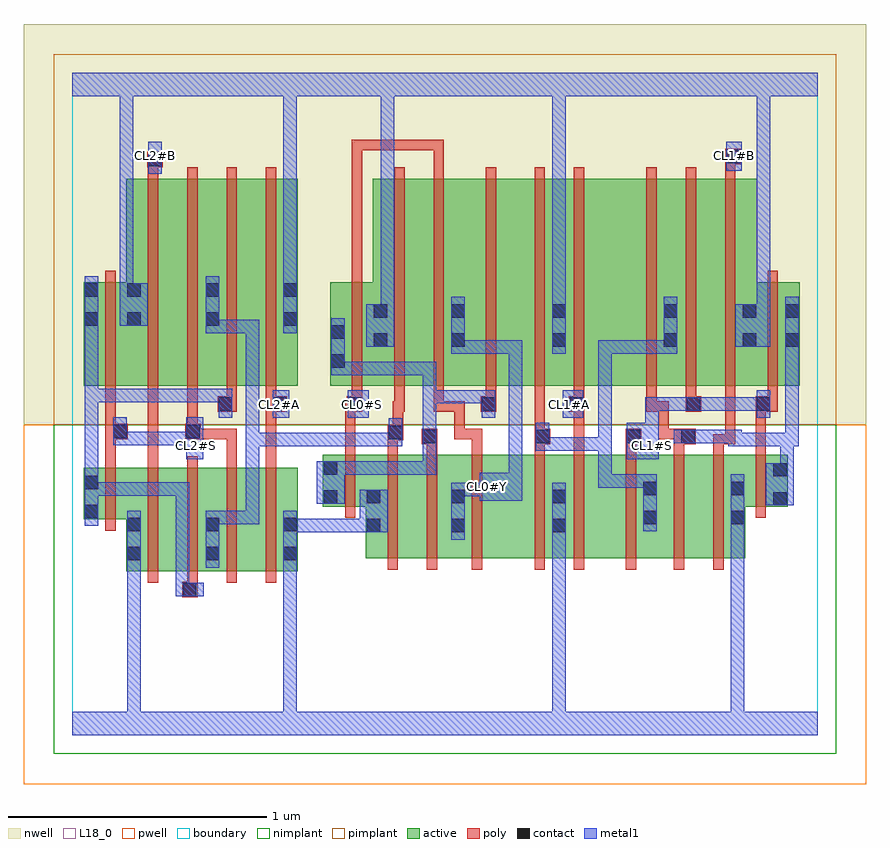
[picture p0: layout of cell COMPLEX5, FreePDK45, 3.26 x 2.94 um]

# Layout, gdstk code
import gdstk
lib = gdstk.Library(unit=1e-6, precision=1e-09)
def R(c, l, rs):  # rectangles x0, y0, x1, y1
    for r in rs: c.add(gdstk.rectangle(r[:2], r[2:], *l))
def A(c, l, x, y, w, h, nx, ny, dx, dy):  # array of equal rectangles
    R(c, l, [(x+i*dx, y+j*dy, x+i*dx+w, y+j*dy+h) for i in range(nx) for j in range(ny)])
active = (1, 0)
pwell = (2, 0)
nwell = (3, 0)
nimplant = (4, 0)
pimplant = (5, 0)
poly = (9, 0)
contact = (10, 0)
metal1 = (11, 0)
L18_0 = (18, 0)
boundary = (235, 0)

complex5 = lib.new_cell('COMPLEX5')
R(complex5, active, [(0.208,0.634,0.388,1.034), (0.208,0.634,0.268,1.034), (0.388,0.634,0.572,1.034), (0.512,0.634,0.692,1.034), (0.512,0.634,0.572,0.844), (0.692,0.634,0.872,1.034), (0.812,0.634,0.872,1.034), (1.134,0.684,1.314,1.084), (1.314,0.684,1.52,1.084), (1.46,0.684,1.73,1.084), (1.73,0.684,1.91,1.084), (1.85,0.684,2.034,1.084), (2.034,0.684,2.262,1.084), (2.202,0.684,2.42,1.084), (2.42,0.684,2.6,1.084), (1.46,0.756,1.52,0.952), (1.85,0.756,1.91,0.952), (2.202,0.756,2.262,0.984), (1.134,0.78,1.194,0.952), (2.54,0.812,2.6,1.054), (0.044,0.834,0.104,1.034), (0.044,0.834,0.268,1.034), (0.968,0.884,1.194,1.084), (2.54,0.884,2.764,1.084), (2.704,0.884,2.764,1.084), (0.968,0.89,1.028,1.084), (0.044,1.35,0.104,1.75), (0.044,1.35,0.268,1.75), (0.208,1.35,0.388,2.15), (0.388,1.35,0.572,2.15), (0.512,1.35,0.692,2.15), (0.692,1.35,0.872,2.15), (0.812,1.35,0.872,2.044), (0.996,1.35,1.22,1.75), (0.996,1.35,1.056,1.644), (1.16,1.35,1.34,2.15), (1.34,1.35,1.52,2.15), (1.46,1.35,1.73,2.15), (1.46,1.35,1.52,2.044), (1.73,1.35,1.91,2.15), (1.85,1.35,2.034,2.15), (2.034,1.35,2.342,2.15), (2.282,1.35,2.466,2.15), (2.466,1.35,2.646,2.15), (2.586,1.35,2.81,1.75), (2.586,1.35,2.646,2.08), (2.75,1.35,2.81,1.75), (0.208,1.358,0.268,2.132), (1.85,1.37,1.91,2.044), (2.282,1.37,2.342,2.044), (0.512,1.416,0.572,2.044), (1.16,1.47,1.22,2.006)])
R(complex5, pwell, [(-0.188,-0.188,3.068,1.2)])
R(complex5, nwell, [(-0.188,1.2,3.068,2.748)])
R(complex5, nimplant, [(-0.072,-0.072,2.952,1.2)])
R(complex5, pimplant, [(-0.072,1.2,2.952,2.632)])
A(complex5, poly, 0.292, 0.59, 0.04, 0.488, 4, 1, 0.152, 0)
A(complex5, poly, 0.292, 1.306, 0.04, 0.888, 4, 1, 0.152, 0)
A(complex5, poly, 2.218, 1.306, 0.04, 0.888, 3, 1, 0.152, 0)
R(complex5, poly, [(0.424,0.534,0.484,0.594), (0.444,0.554,0.484,0.63), (1.218,0.64,1.258,1.128), (1.37,0.64,1.41,1.128), (1.544,0.64,1.584,1.128), (1.786,0.64,1.826,1.128), (1.938,0.64,1.978,1.128), (2.138,0.64,2.178,1.128), (2.324,0.64,2.364,1.128), (2.476,0.64,2.516,1.128), (0.128,0.79,0.168,1.078), (1.054,0.84,1.094,1.128), (2.64,0.84,2.68,1.128), (0.128,1.038,0.168,1.184), (0.292,1.038,0.332,1.19), (0.596,1.038,0.636,1.184), (0.748,1.038,0.788,1.29), (1.054,1.088,1.094,1.29), (1.218,1.088,1.258,1.18), (1.37,1.088,1.41,1.164), (1.544,1.088,1.584,1.184), (1.786,1.088,1.826,1.164), (1.938,1.088,1.978,1.29), (2.138,1.088,2.178,1.164), (2.324,1.088,2.364,1.164), (2.476,1.088,2.516,1.164), (2.64,1.088,2.68,1.29), (1.35,1.124,1.41,1.184), (1.786,1.124,1.846,1.184), (2.138,1.124,2.198,1.184), (2.324,1.124,2.408,1.184), (2.476,1.124,2.536,1.164), (2.496,1.124,2.536,1.164), (2.496,1.124,2.562,1.164), (2.522,1.124,2.562,1.346), (1.218,1.14,1.278,1.2), (0.128,1.144,0.214,1.204), (0.436,1.144,0.496,1.204), (0.456,1.144,0.636,1.184), (0.596,1.144,0.636,1.184), (0.596,1.144,0.636,1.184), (0.596,1.144,0.636,1.184), (1.476,1.144,1.516,1.184), (1.476,1.144,1.516,1.29), (1.476,1.144,1.584,1.184), (1.544,1.144,1.584,1.184), (1.786,1.144,1.826,1.184), (1.786,1.144,1.826,1.184), (1.786,1.144,1.826,1.346), (2.264,1.144,2.304,1.184), (2.264,1.144,2.364,1.184), (2.264,1.144,2.304,1.29), (0.292,1.15,0.332,1.19), (0.292,1.15,0.332,1.19), (0.292,1.15,0.332,1.19), (0.292,1.15,0.332,1.346), (1.238,1.16,1.278,1.29), (0.128,1.164,0.168,1.204), (0.128,1.164,0.168,1.204), (0.128,1.164,0.168,1.346), (0.444,1.164,0.484,1.204), (0.444,1.164,0.484,1.204), (0.444,1.164,0.484,1.346), (0.562,1.25,0.636,1.31), (0.748,1.25,0.788,1.29), (0.748,1.25,0.788,1.29), (0.748,1.25,0.83,1.31), (1.054,1.25,1.1,1.29), (1.06,1.25,1.1,1.29), (1.06,1.25,1.12,1.31), (1.238,1.25,1.284,1.29), (1.244,1.25,1.284,1.346), (1.396,1.25,1.436,1.29), (1.396,1.25,1.436,1.346), (1.396,1.25,1.516,1.29), (1.476,1.25,1.516,1.29), (1.578,1.25,1.638,1.31), (1.918,1.25,1.978,1.31), (1.938,1.25,1.978,1.29), (1.938,1.25,1.978,1.29), (2.218,1.25,2.258,1.29), (2.218,1.25,2.304,1.29), (2.218,1.25,2.258,1.346), (2.264,1.25,2.304,1.29), (2.37,1.25,2.43,1.31), (2.64,1.25,2.68,1.29), (2.64,1.25,2.68,1.29), (2.64,1.25,2.726,1.31), (0.596,1.27,0.636,1.346), (0.748,1.27,0.788,1.346), (1.08,1.27,1.12,1.346), (1.598,1.27,1.638,1.346), (1.938,1.27,1.978,1.346), (2.37,1.27,2.41,1.346), (2.686,1.27,2.726,1.346), (0.128,1.306,0.168,1.794), (1.08,1.306,1.12,1.794), (1.244,1.306,1.284,2.194), (1.396,1.306,1.436,2.194), (1.598,1.306,1.638,2.194), (1.786,1.306,1.826,2.194), (1.938,1.306,1.978,2.194), (2.686,1.306,2.726,1.794), (1.08,1.754,1.12,2.3), (0.292,2.154,0.332,2.234), (1.396,2.154,1.436,2.3), (2.522,2.154,2.562,2.246), (0.29,2.194,0.35,2.254), (2.522,2.206,2.582,2.266), (1.08,2.26,1.12,2.3), (1.08,2.26,1.12,2.3), (1.08,2.26,1.12,2.3), (1.08,2.26,1.12,2.3), (1.08,2.26,1.12,2.3), (1.08,2.26,1.12,2.3), (1.08,2.26,1.12,2.3), (1.08,2.26,1.12,2.3), (1.08,2.26,1.12,2.3), (1.08,2.26,1.12,2.3), (1.08,2.26,1.12,2.3), (1.08,2.26,1.226,2.3), (1.186,2.26,1.226,2.3), (1.186,2.26,1.226,2.3), (1.186,2.26,1.226,2.3), (1.186,2.26,1.436,2.3), (1.396,2.26,1.436,2.3)])
R(complex5, contact, [(0.428,0.538,0.48,0.59), (0.212,0.676,0.264,0.728), (0.516,0.676,0.568,0.728), (0.816,0.676,0.868,0.728), (1.138,0.784,1.19,0.836), (1.464,0.784,1.516,0.836), (1.854,0.784,1.906,0.836), (0.212,0.788,0.264,0.84), (0.516,0.788,0.568,0.84), (0.816,0.788,0.868,0.84), (2.206,0.816,2.258,0.868), (2.544,0.816,2.596,0.868), (0.048,0.838,0.1,0.89), (2.708,0.888,2.76,0.94), (0.972,0.894,1.024,0.946), (1.138,0.896,1.19,0.948), (1.464,0.896,1.516,0.948), (1.854,0.896,1.906,0.948), (2.206,0.928,2.258,0.98), (2.544,0.928,2.596,0.98), (0.048,0.95,0.1,1.002), (2.708,1,2.76,1.052), (0.972,1.006,1.024,1.058), (1.354,1.128,1.406,1.18), (1.79,1.128,1.842,1.18), (2.142,1.128,2.194,1.18), (2.352,1.128,2.404,1.18), (1.222,1.144,1.274,1.196), (0.158,1.148,0.21,1.2), (0.44,1.148,0.492,1.2), (0.566,1.254,0.618,1.306), (0.774,1.254,0.826,1.306), (1.064,1.254,1.116,1.306), (1.582,1.254,1.634,1.306), (1.922,1.254,1.974,1.306), (2.374,1.254,2.426,1.306), (2.644,1.254,2.696,1.306), (1,1.42,1.052,1.472), (1.164,1.502,1.216,1.554), (1.464,1.502,1.516,1.554), (1.854,1.502,1.906,1.554), (2.286,1.502,2.338,1.554), (2.59,1.502,2.642,1.554), (2.754,1.502,2.806,1.554), (1,1.532,1.052,1.584), (0.048,1.582,0.1,1.634), (0.212,1.582,0.264,1.634), (0.516,1.582,0.568,1.634), (0.816,1.582,0.868,1.634), (1.164,1.614,1.216,1.666), (1.464,1.614,1.516,1.666), (1.854,1.614,1.906,1.666), (2.286,1.614,2.338,1.666), (2.59,1.614,2.642,1.666), (2.754,1.614,2.806,1.666), (0.048,1.694,0.1,1.746), (0.212,1.694,0.264,1.746), (0.516,1.694,0.568,1.746), (0.816,1.694,0.868,1.746), (0.294,2.198,0.346,2.25), (2.526,2.21,2.578,2.262)])
R(complex5, metal1, [(0,0,2.88,0.092), (0.212,0.04,0.264,0.092), (0.212,0.04,0.264,0.092), (0.212,0.04,0.264,0.092), (0.212,0.04,0.264,0.092), (0.212,0.04,0.264,0.092), (0.212,0.04,0.264,0.092), (0.212,0.04,0.264,0.092), (0.212,0.04,0.264,0.092), (0.212,0.04,0.264,0.092), (0.212,0.04,0.264,0.092), (0.212,0.04,0.264,0.7), (0.816,0.04,0.868,0.092), (0.816,0.04,0.868,0.092), (0.816,0.04,0.868,0.092), (0.816,0.04,0.868,0.092), (0.816,0.04,0.868,0.092), (0.816,0.04,0.868,0.092), (0.816,0.04,0.868,0.092), (0.816,0.04,0.868,0.092), (0.816,0.04,0.868,0.092), (0.816,0.04,0.868,0.092), (0.816,0.04,0.868,0.7), (1.854,0.04,1.906,0.092), (1.854,0.04,1.906,0.092), (1.854,0.04,1.906,0.092), (1.854,0.04,1.906,0.092), (1.854,0.04,1.906,0.092), (1.854,0.04,1.906,0.092), (1.854,0.04,1.906,0.092), (1.854,0.04,1.906,0.092), (1.854,0.04,1.906,0.808), (2.544,0.04,2.596,0.092), (2.544,0.04,2.596,0.092), (2.544,0.04,2.596,0.092), (2.544,0.04,2.596,0.092), (2.544,0.04,2.596,0.092), (2.544,0.04,2.596,0.092), (2.544,0.04,2.596,0.092), (2.544,0.04,2.596,0.092), (2.544,0.04,2.596,0.84), (0.4,0.538,0.452,0.59), (0.4,0.538,0.452,0.59), (0.4,0.538,0.508,0.59), (0.4,0.538,0.452,0.978), (0.212,0.648,0.264,0.7), (0.212,0.648,0.264,0.7), (0.212,0.648,0.264,0.868), (0.516,0.648,0.568,0.868), (0.816,0.648,0.868,0.7), (0.816,0.648,0.868,0.7), (0.816,0.648,0.868,0.868), (1.464,0.756,1.516,0.976), (1.854,0.756,1.906,0.808), (1.854,0.756,1.906,0.808), (1.854,0.756,1.906,0.808), (1.854,0.756,1.906,0.808), (1.854,0.756,1.906,0.976), (0.816,0.784,0.978,0.836), (0.926,0.784,0.978,0.836), (0.926,0.784,0.978,0.836), (0.926,0.784,0.978,0.836), (0.926,0.784,1.162,0.836), (1.11,0.784,1.218,0.948), (2.206,0.788,2.258,1.008), (2.544,0.788,2.596,0.84), (2.544,0.788,2.596,0.84), (2.544,0.788,2.596,0.84), (2.544,0.788,2.596,0.84), (2.544,0.788,2.596,1.008), (0.048,0.81,0.1,1.03), (0.516,0.816,0.568,0.868), (0.516,0.816,0.568,0.868), (0.516,0.816,0.722,0.868), (0.67,0.816,0.722,0.868), (0.67,0.816,0.722,1.168), (2.68,0.888,2.788,1.052), (0.944,0.894,1.052,1.058), (1.574,0.906,1.738,1.014), (1.464,0.924,1.516,0.976), (1.464,0.924,1.516,0.976), (1.464,0.924,1.516,0.976), (1.464,0.924,1.516,0.976), (1.464,0.924,1.626,0.976), (0.048,0.926,0.1,0.978), (0.048,0.926,0.1,0.978), (0.048,0.926,0.32,0.978), (0.268,0.926,0.32,0.978), (0.268,0.926,0.32,0.978), (0.268,0.926,0.32,0.978), (0.268,0.926,0.452,0.978), (0.4,0.926,0.452,0.978), (0.4,0.926,0.452,0.978), (0.4,0.926,0.452,0.978), (0.4,0.926,0.452,0.978), (0.4,0.926,0.452,0.978), (0.4,0.926,0.452,0.978), (0.4,0.926,0.452,0.978), (2.032,0.956,2.084,1.008), (2.032,0.956,2.258,1.008), (2.032,0.956,2.084,1.152), (2.206,0.956,2.258,1.008), (2.206,0.956,2.258,1.008), (1.686,0.962,1.738,1.526), (0.048,0.978,0.1,1.03), (0.048,0.978,0.1,1.03), (0.048,0.978,0.1,1.338), (2.736,1,2.788,1.168), (1,1.006,1.052,1.058), (1,1.006,1.052,1.058), (1,1.006,1.256,1.058), (1.204,1.006,1.256,1.058), (1.204,1.006,1.256,1.058), (1.204,1.006,1.256,1.058), (1.204,1.006,1.406,1.058), (1.354,1.006,1.406,1.058), (1.354,1.006,1.406,1.152), (0.44,1.066,0.506,1.228), (2.142,1.066,2.266,1.208), (1.354,1.1,1.406,1.152), (1.354,1.1,1.406,1.152), (1.354,1.1,1.406,1.208), (1.354,1.1,1.406,1.334), (1.79,1.1,1.974,1.152), (1.79,1.1,1.842,1.208), (1.922,1.1,1.974,1.152), (1.922,1.1,1.974,1.152), (1.922,1.1,1.974,1.152), (1.922,1.1,2.084,1.152), (2.032,1.1,2.084,1.152), (2.032,1.1,2.084,1.526), (0.67,1.116,0.722,1.168), (0.67,1.116,0.722,1.168), (0.67,1.116,0.722,1.168), (0.67,1.116,0.868,1.168), (0.67,1.116,0.722,1.606), (0.816,1.116,0.868,1.168), (0.816,1.116,0.868,1.168), (0.816,1.116,0.868,1.168), (0.816,1.116,0.978,1.168), (0.926,1.116,0.978,1.168), (0.926,1.116,0.978,1.168), (0.926,1.116,0.978,1.168), (0.926,1.116,1.274,1.168), (1.222,1.116,1.274,1.168), (1.222,1.116,1.274,1.168), (1.222,1.116,1.274,1.224), (2.534,1.116,2.586,1.168), (2.534,1.116,2.586,1.168), (2.534,1.116,2.788,1.168), (2.534,1.116,2.586,1.18), (2.736,1.116,2.788,1.168), (2.736,1.116,2.788,1.168), (2.736,1.116,2.806,1.168), (2.754,1.116,2.806,1.526), (0.158,1.12,0.21,1.228), (0.158,1.12,0.32,1.172), (0.268,1.12,0.32,1.172), (0.268,1.12,0.32,1.172), (0.268,1.12,0.32,1.172), (0.268,1.12,0.452,1.172), (0.4,1.12,0.452,1.172), (0.4,1.12,0.492,1.172), (2.324,1.128,2.432,1.18), (2.38,1.128,2.432,1.18), (2.38,1.128,2.432,1.18), (2.38,1.128,2.586,1.18), (2.214,1.156,2.266,1.208), (2.214,1.156,2.266,1.208), (2.214,1.156,2.266,1.306), (0.566,1.226,0.618,1.338), (0.774,1.226,0.838,1.334), (1.064,1.226,1.146,1.334), (1.582,1.226,1.634,1.334), (1.894,1.226,1.974,1.334), (2.644,1.226,2.696,1.334), (2.214,1.254,2.266,1.306), (2.214,1.254,2.398,1.306), (2.346,1.254,2.454,1.306), (2.402,1.254,2.454,1.306), (2.402,1.254,2.454,1.306), (2.402,1.254,2.564,1.306), (2.512,1.254,2.564,1.306), (2.512,1.254,2.564,1.306), (2.512,1.254,2.564,1.306), (2.512,1.254,2.696,1.306), (1.354,1.282,1.406,1.334), (1.354,1.282,1.406,1.334), (1.354,1.282,1.406,1.334), (1.354,1.282,1.516,1.334), (1.354,1.282,1.406,1.444), (1.464,1.282,1.516,1.334), (1.464,1.282,1.634,1.334), (0.048,1.286,0.1,1.338), (0.048,1.286,0.1,1.338), (0.048,1.286,0.1,1.338), (0.048,1.286,0.32,1.338), (0.048,1.286,0.1,1.606), (0.268,1.286,0.32,1.338), (0.268,1.286,0.32,1.338), (0.268,1.286,0.32,1.338), (0.268,1.286,0.43,1.338), (0.378,1.286,0.43,1.338), (0.378,1.286,0.43,1.338), (0.378,1.286,0.43,1.338), (0.378,1.286,0.562,1.338), (0.51,1.286,0.562,1.338), (0.51,1.286,0.618,1.338), (1,1.392,1.052,1.444), (1,1.392,1.052,1.444), (1,1.392,1.052,1.612), (1,1.392,1.296,1.444), (1.244,1.392,1.296,1.444), (1.244,1.392,1.296,1.444), (1.244,1.392,1.296,1.444), (1.244,1.392,1.406,1.444), (1.354,1.392,1.406,1.444), (1.464,1.474,1.516,1.526), (1.464,1.474,1.516,1.526), (1.464,1.474,1.516,1.694), (1.464,1.474,1.738,1.526), (1.686,1.474,1.738,1.526), (1.686,1.474,1.738,1.526), (1.686,1.474,1.738,1.526), (1.854,1.474,1.906,1.694), (2.032,1.474,2.084,1.526), (2.032,1.474,2.084,1.526), (2.032,1.474,2.084,1.526), (2.032,1.474,2.084,1.526), (2.032,1.474,2.084,1.526), (2.032,1.474,2.338,1.526), (2.286,1.474,2.338,1.694), (2.754,1.474,2.806,1.526), (2.754,1.474,2.806,1.526), (2.754,1.474,2.806,1.694), (1.136,1.502,1.244,1.666), (2.562,1.502,2.696,1.666), (0.048,1.554,0.1,1.774), (0.516,1.554,0.568,1.606), (0.516,1.554,0.568,1.606), (0.516,1.554,0.568,1.774), (0.516,1.554,0.722,1.606), (0.67,1.554,0.722,1.606), (0.816,1.554,0.868,1.774), (0.184,1.582,0.292,1.746), (1.192,1.614,1.244,1.666), (1.192,1.614,1.244,1.666), (1.192,1.614,1.244,1.666), (1.192,1.614,1.244,1.666), (1.192,1.614,1.244,2.52), (2.644,1.614,2.696,2.52), (1.854,1.642,1.906,1.694), (1.854,1.642,1.906,1.694), (1.854,1.642,1.906,1.694), (1.854,1.642,1.906,1.694), (1.854,1.642,1.906,1.694), (1.854,1.642,1.906,1.694), (1.854,1.642,1.906,2.52), (0.184,1.694,0.236,2.52), (0.816,1.722,0.868,2.52), (0.294,2.17,0.346,2.294), (2.526,2.182,2.586,2.294), (0,2.468,2.88,2.56), (0.184,2.468,0.236,2.52), (0.184,2.468,0.236,2.52), (0.184,2.468,0.236,2.52), (0.184,2.468,0.236,2.52), (0.184,2.468,0.236,2.52), (0.184,2.468,0.236,2.52), (0.184,2.468,0.236,2.52), (0.184,2.468,0.236,2.52), (0.816,2.468,0.868,2.52), (0.816,2.468,0.868,2.52), (0.816,2.468,0.868,2.52), (0.816,2.468,0.868,2.52), (0.816,2.468,0.868,2.52), (0.816,2.468,0.868,2.52), (0.816,2.468,0.868,2.52), (0.816,2.468,0.868,2.52), (1.192,2.468,1.244,2.52), (1.192,2.468,1.244,2.52), (1.192,2.468,1.244,2.52), (1.192,2.468,1.244,2.52), (1.854,2.468,1.906,2.52), (1.854,2.468,1.906,2.52), (2.644,2.468,2.696,2.52), (2.644,2.468,2.696,2.52), (2.644,2.468,2.696,2.52), (2.644,2.468,2.696,2.52), (2.644,2.468,2.696,2.52), (2.644,2.468,2.696,2.52), (2.644,2.468,2.696,2.52), (2.644,2.468,2.696,2.52)])
R(complex5, L18_0, [(0,0,2.88,0.092), (0.212,0.04,0.264,0.092), (0.212,0.04,0.264,0.092), (0.212,0.04,0.264,0.092), (0.212,0.04,0.264,0.092), (0.212,0.04,0.264,0.092), (0.212,0.04,0.264,0.092), (0.212,0.04,0.264,0.092), (0.212,0.04,0.264,0.092), (0.212,0.04,0.264,0.092), (0.212,0.04,0.264,0.092), (0.212,0.04,0.264,0.7), (0.816,0.04,0.868,0.092), (0.816,0.04,0.868,0.092), (0.816,0.04,0.868,0.092), (0.816,0.04,0.868,0.092), (0.816,0.04,0.868,0.092), (0.816,0.04,0.868,0.092), (0.816,0.04,0.868,0.092), (0.816,0.04,0.868,0.092), (0.816,0.04,0.868,0.092), (0.816,0.04,0.868,0.092), (0.816,0.04,0.868,0.7), (1.854,0.04,1.906,0.092), (1.854,0.04,1.906,0.092), (1.854,0.04,1.906,0.092), (1.854,0.04,1.906,0.092), (1.854,0.04,1.906,0.092), (1.854,0.04,1.906,0.092), (1.854,0.04,1.906,0.092), (1.854,0.04,1.906,0.092), (1.854,0.04,1.906,0.808), (2.544,0.04,2.596,0.092), (2.544,0.04,2.596,0.092), (2.544,0.04,2.596,0.092), (2.544,0.04,2.596,0.092), (2.544,0.04,2.596,0.092), (2.544,0.04,2.596,0.092), (2.544,0.04,2.596,0.092), (2.544,0.04,2.596,0.092), (2.544,0.04,2.596,0.84), (0.212,0.648,0.264,0.7), (0.212,0.648,0.264,0.7), (0.212,0.648,0.264,0.868), (0.816,0.648,0.868,0.7), (0.816,0.648,0.868,0.7), (0.816,0.648,0.868,0.868), (1.464,0.756,1.516,0.976), (1.854,0.756,1.906,0.808), (1.854,0.756,1.906,0.808), (1.854,0.756,1.906,0.808), (1.854,0.756,1.906,0.808), (1.854,0.756,1.906,0.976), (0.816,0.784,0.978,0.836), (0.926,0.784,0.978,0.836), (0.926,0.784,0.978,0.836), (0.926,0.784,0.978,0.836), (0.926,0.784,1.162,0.836), (1.11,0.784,1.218,0.948), (2.544,0.788,2.596,0.84), (2.544,0.788,2.596,0.84), (2.544,0.788,2.596,0.84), (2.544,0.788,2.596,0.84), (2.544,0.788,2.596,1.008), (1.574,0.906,1.738,1.014), (1.464,0.924,1.516,0.976), (1.464,0.924,1.516,0.976), (1.464,0.924,1.516,0.976), (1.464,0.924,1.516,0.976), (1.464,0.924,1.626,0.976), (1.574,0.934,1.626,0.986), (1.686,0.962,1.738,1.526), (0.44,1.066,0.506,1.228), (2.142,1.066,2.266,1.208), (0.454,1.094,0.506,1.146), (2.214,1.094,2.266,1.146), (0.158,1.12,0.21,1.228), (0.158,1.12,0.32,1.172), (0.268,1.12,0.32,1.172), (0.268,1.12,0.32,1.172), (0.268,1.12,0.32,1.172), (0.268,1.12,0.452,1.172), (0.4,1.12,0.452,1.172), (0.4,1.12,0.492,1.172), (2.214,1.156,2.266,1.208), (2.214,1.156,2.266,1.208), (2.214,1.156,2.266,1.306), (0.774,1.226,0.838,1.334), (1.064,1.226,1.146,1.334), (1.894,1.226,1.974,1.334), (2.644,1.226,2.696,1.334), (0.774,1.254,0.826,1.306), (1.094,1.254,1.146,1.306), (1.894,1.254,1.946,1.306), (2.214,1.254,2.266,1.306), (2.214,1.254,2.398,1.306), (2.346,1.254,2.454,1.306), (2.402,1.254,2.454,1.306), (2.402,1.254,2.454,1.306), (2.402,1.254,2.564,1.306), (2.512,1.254,2.564,1.306), (2.512,1.254,2.564,1.306), (2.512,1.254,2.564,1.306), (2.512,1.254,2.696,1.306), (1.464,1.474,1.516,1.526), (1.464,1.474,1.516,1.526), (1.464,1.474,1.516,1.694), (1.464,1.474,1.738,1.526), (1.686,1.474,1.738,1.526), (1.686,1.474,1.738,1.526), (1.686,1.474,1.738,1.526), (1.854,1.474,1.906,1.694), (1.136,1.502,1.244,1.666), (2.562,1.502,2.696,1.666), (0.816,1.554,0.868,1.774), (0.184,1.582,0.292,1.746), (1.192,1.614,1.244,1.666), (1.192,1.614,1.244,1.666), (1.192,1.614,1.244,1.666), (1.192,1.614,1.244,1.666), (1.192,1.614,1.244,2.52), (2.644,1.614,2.696,2.52), (1.854,1.642,1.906,1.694), (1.854,1.642,1.906,1.694), (1.854,1.642,1.906,1.694), (1.854,1.642,1.906,1.694), (1.854,1.642,1.906,1.694), (1.854,1.642,1.906,1.694), (1.854,1.642,1.906,2.52), (0.184,1.694,0.236,2.52), (0.816,1.722,0.868,2.52), (0.294,2.17,0.346,2.294), (2.526,2.182,2.586,2.294), (0.294,2.214,0.346,2.266), (2.534,2.214,2.586,2.266), (0,2.468,2.88,2.56), (0.184,2.468,0.236,2.52), (0.184,2.468,0.236,2.52), (0.184,2.468,0.236,2.52), (0.184,2.468,0.236,2.52), (0.184,2.468,0.236,2.52), (0.184,2.468,0.236,2.52), (0.184,2.468,0.236,2.52), (0.184,2.468,0.236,2.52), (0.816,2.468,0.868,2.52), (0.816,2.468,0.868,2.52), (0.816,2.468,0.868,2.52), (0.816,2.468,0.868,2.52), (0.816,2.468,0.868,2.52), (0.816,2.468,0.868,2.52), (0.816,2.468,0.868,2.52), (0.816,2.468,0.868,2.52), (1.192,2.468,1.244,2.52), (1.192,2.468,1.244,2.52), (1.192,2.468,1.244,2.52), (1.192,2.468,1.244,2.52), (1.854,2.468,1.906,2.52), (1.854,2.468,1.906,2.52), (2.644,2.468,2.696,2.52), (2.644,2.468,2.696,2.52), (2.644,2.468,2.696,2.52), (2.644,2.468,2.696,2.52), (2.644,2.468,2.696,2.52), (2.644,2.468,2.696,2.52), (2.644,2.468,2.696,2.52), (2.644,2.468,2.696,2.52)])
R(complex5, boundary, [(0,0,2.88,2.56)])
complex5.add(gdstk.Label('CL0#S', (1.12,1.28), layer=11, texttype=0))
complex5.add(gdstk.Label('CL0#Y', (1.6,0.96), layer=11, texttype=0))
complex5.add(gdstk.Label('CL1#A', (1.92,1.28), layer=11, texttype=0))
complex5.add(gdstk.Label('CL1#B', (2.56,2.24), layer=11, texttype=0))
complex5.add(gdstk.Label('CL1#S', (2.24,1.12), layer=11, texttype=0))
complex5.add(gdstk.Label('CL2#A', (0.8,1.28), layer=11, texttype=0))
complex5.add(gdstk.Label('CL2#B', (0.32,2.24), layer=11, texttype=0))
complex5.add(gdstk.Label('CL2#S', (0.48,1.12), layer=11, texttype=0))

lib.write_gds('COMPLEX5.gds')
